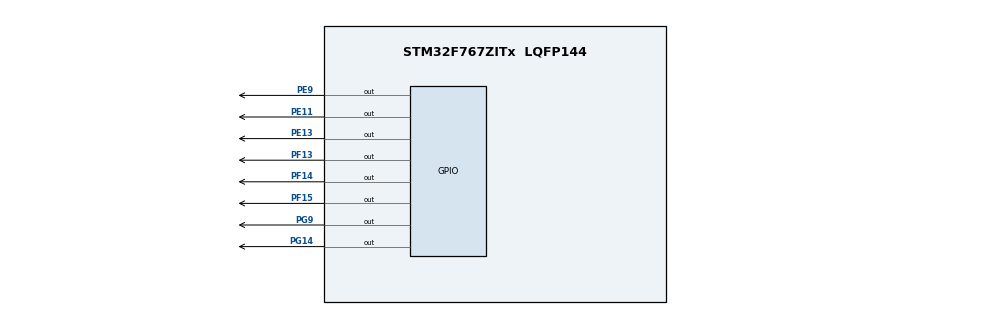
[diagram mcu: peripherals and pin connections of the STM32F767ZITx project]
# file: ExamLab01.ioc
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Mcu.Family=STM32F7
Mcu.Name=STM32F767ZITx
Mcu.Package=LQFP144
NVIC.PriorityGroup=NVIC_PRIORITYGROUP_4
PE11.Signal=GPIO_Output
PE13.Signal=GPIO_Output
PE9.Signal=GPIO_Output
PF13.Signal=GPIO_Output
PF14.Signal=GPIO_Output
PF15.Signal=GPIO_Output
PG14.Signal=GPIO_Output
PG9.Signal=GPIO_Output
ProjectManager.HeapSize=0x200
ProjectManager.StackSize=0x400
ProjectManager.TargetToolchain=STM32CubeIDE
RCC.HSE_VALUE=25000000
RCC.HSI_VALUE=16000000
RCC.LSE_VALUE=32768
RCC.USBFreq_Value=96000000
RCC.VCOOutputFreq_Value=192000000
board=custom

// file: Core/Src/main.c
/* USER CODE BEGIN Header */
/**
 ******************************************************************************
 * @file           : main.c
 * @brief          : Main program body
 ******************************************************************************
 * @attention
 *
 * Copyright (c) 2022 STMicroelectronics.
 * All rights reserved.
 *
 * This software is licensed under terms that can be found in the LICENSE file
 * in the root directory of this software component.
 * If no LICENSE file comes with this software, it is provided AS-IS.
 *
 ******************************************************************************
 */
/* USER CODE END Header */
#include "main.h"
#include "gpio.h"

void SystemClock_Config(void);

int main(void) {

	/* MCU Configuration--------------------------------------------------------*/

	/* Reset of all peripherals, Initializes the Flash interface and the Systick. */
	HAL_Init();

	/* Configure the system clock */
	SystemClock_Config();

	/* Initialize all configured peripherals */
	MX_GPIO_Init();

	/* Infinite loop */
	while (1) {

		/* USER CODE BEGIN 3 */
		HAL_GPIO_WritePin(GPIOF, GPIO_PIN_13, GPIO_PIN_RESET);
		HAL_GPIO_WritePin(GPIOG, GPIO_PIN_9, GPIO_PIN_RESET);
		HAL_Delay(500);
		HAL_GPIO_WritePin(GPIOF, GPIO_PIN_13, GPIO_PIN_SET);
		HAL_GPIO_WritePin(GPIOG, GPIO_PIN_9, GPIO_PIN_SET);
		HAL_Delay(500);
		HAL_GPIO_WritePin(GPIOG, GPIO_PIN_14, GPIO_PIN_RESET);
		HAL_GPIO_WritePin(GPIOE, GPIO_PIN_9, GPIO_PIN_RESET);
		HAL_Delay(500);
		HAL_GPIO_WritePin(GPIOG, GPIO_PIN_14, GPIO_PIN_SET);
		HAL_GPIO_WritePin(GPIOE, GPIO_PIN_9, GPIO_PIN_SET);
		HAL_Delay(500);
		HAL_GPIO_WritePin(GPIOF, GPIO_PIN_15, GPIO_PIN_RESET);
		HAL_GPIO_WritePin(GPIOE, GPIO_PIN_11, GPIO_PIN_RESET);
		HAL_Delay(500);
		HAL_GPIO_WritePin(GPIOF, GPIO_PIN_15, GPIO_PIN_SET);
		HAL_GPIO_WritePin(GPIOE, GPIO_PIN_11, GPIO_PIN_SET);
		HAL_Delay(500);
		HAL_GPIO_WritePin(GPIOF, GPIO_PIN_14, GPIO_PIN_RESET);
		HAL_GPIO_WritePin(GPIOE, GPIO_PIN_13, GPIO_PIN_RESET);
		HAL_Delay(500);
		HAL_GPIO_WritePin(GPIOF, GPIO_PIN_14, GPIO_PIN_SET);
		HAL_GPIO_WritePin(GPIOE, GPIO_PIN_13, GPIO_PIN_SET);
		HAL_Delay(500);
	}
	/* USER CODE END 3 */
}

void SystemClock_Config(void) {
	RCC_OscInitTypeDef RCC_OscInitStruct = { 0 };
	RCC_ClkInitTypeDef RCC_ClkInitStruct = { 0 };

	/** Configure the main internal regulator output voltage
	 */
	__HAL_RCC_PWR_CLK_ENABLE();
	__HAL_PWR_VOLTAGESCALING_CONFIG(PWR_REGULATOR_VOLTAGE_SCALE3);

	/** Initializes the RCC Oscillators according to the specified parameters
	 * in the RCC_OscInitTypeDef structure.
	 */
	RCC_OscInitStruct.OscillatorType = RCC_OSCILLATORTYPE_HSI;
	RCC_OscInitStruct.HSIState = RCC_HSI_ON;
	RCC_OscInitStruct.HSICalibrationValue = RCC_HSICALIBRATION_DEFAULT;
	RCC_OscInitStruct.PLL.PLLState = RCC_PLL_NONE;
	if (HAL_RCC_OscConfig(&RCC_OscInitStruct) != HAL_OK) {
		Error_Handler();
	}

	/** Initializes the CPU, AHB and APB buses clocks
	 */
	RCC_ClkInitStruct.ClockType = RCC_CLOCKTYPE_HCLK | RCC_CLOCKTYPE_SYSCLK
			| RCC_CLOCKTYPE_PCLK1 | RCC_CLOCKTYPE_PCLK2;
	RCC_ClkInitStruct.SYSCLKSource = RCC_SYSCLKSOURCE_HSI;
	RCC_ClkInitStruct.AHBCLKDivider = RCC_SYSCLK_DIV1;
	RCC_ClkInitStruct.APB1CLKDivider = RCC_HCLK_DIV1;
	RCC_ClkInitStruct.APB2CLKDivider = RCC_HCLK_DIV1;

	if (HAL_RCC_ClockConfig(&RCC_ClkInitStruct, FLASH_LATENCY_0) != HAL_OK) {
		Error_Handler();
	}
}

void Error_Handler(void) {
	__disable_irq();
	while (1) {
	}
}
